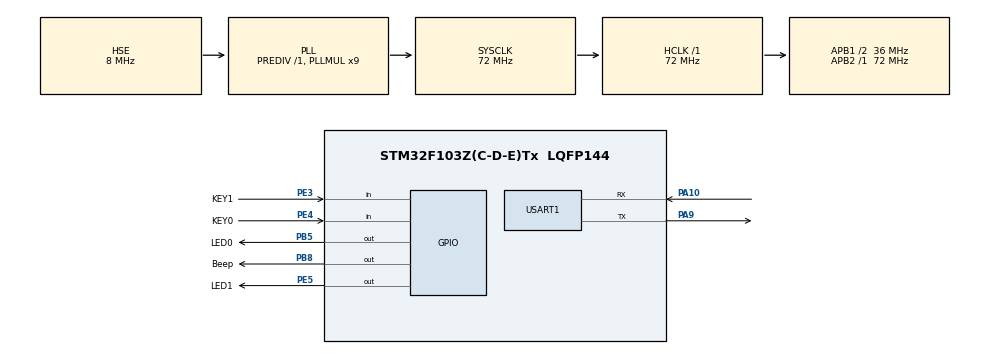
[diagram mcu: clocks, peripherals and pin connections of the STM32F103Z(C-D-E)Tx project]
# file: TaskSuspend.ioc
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FREERTOS.Tasks01=Key1Task,0,128,KEYTask,Default,NULL,Dynamic,NULL,NULL;LED0Task03,-3,128,LED0Task,Default,NULL,Dynamic,NULL,NULL;LED1Task04,-3,128,LED1Task,Default,NULL,Dynamic,NULL,NULL
Mcu.Family=STM32F1
Mcu.Name=STM32F103Z(C-D-E)Tx
Mcu.Package=LQFP144
NVIC.PriorityGroup=NVIC_PRIORITYGROUP_4
NVIC.TIM7_IRQn=true\:15\:0\:false\:false\:true\:false\:false\:true
NVIC.TimeBase=TIM7_IRQn
NVIC.TimeBaseIP=TIM7
OSC_IN.Mode=HSE-External-Oscillator
OSC_IN.Signal=RCC_OSC_IN
OSC_OUT.Mode=HSE-External-Oscillator
OSC_OUT.Signal=RCC_OSC_OUT
PA10.Mode=Asynchronous
PA10.Signal=USART1_RX
PA9.Mode=Asynchronous
PA9.Signal=USART1_TX
PB5.GPIO_Label=LED0
PB5.Signal=GPIO_Output
PB8.GPIO_Label=Beep
PB8.Signal=GPIO_Output
PE3.GPIO_Label=KEY1
PE3.Signal=GPIO_Input
PE4.GPIO_Label=KEY0
PE4.Signal=GPIO_Input
PE5.GPIO_Label=LED1
PE5.Signal=GPIO_Output
ProjectManager.HeapSize=0x800
ProjectManager.StackSize=0x800
ProjectManager.TargetToolchain=MDK-ARM V5.32
RCC.AHBFreq_Value=72000000
RCC.APB1CLKDivider=RCC_HCLK_DIV2
RCC.APB1Freq_Value=36000000
RCC.APB1TimFreq_Value=72000000
RCC.APB2Freq_Value=72000000
RCC.APB2TimFreq_Value=72000000
RCC.HCLKFreq_Value=72000000
RCC.PLLMUL=RCC_PLL_MUL9
RCC.PLLSourceVirtual=RCC_PLLSOURCE_HSE
RCC.SYSCLKFreq_VALUE=72000000
RCC.SYSCLKSource=RCC_SYSCLKSOURCE_PLLCLK
RCC.USBFreq_Value=72000000
USART1.VirtualMode=VM_ASYNC
VP_FREERTOS_VS_CMSIS_V1.Mode=CMSIS_V1
VP_SYS_VS_ND.Mode=No_Debug
VP_SYS_VS_tim7.Mode=TIM7
board=custom

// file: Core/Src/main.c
/* USER CODE BEGIN Header */
/**
  ******************************************************************************
  * @file           : main.c
  * @brief          : Main program body
  ******************************************************************************
  * @attention
  *
  * <h2><center>&copy; Copyright (c) 2022 STMicroelectronics.
  * All rights reserved.</center></h2>
  *
  * This software component is licensed by ST under Ultimate Liberty license
  * SLA0044, the "License"; You may not use this file except in compliance with
  * the License. You may obtain a copy of the License at:
  *                             www.st.com/SLA0044
  *
  ******************************************************************************
  */
/* USER CODE END Header */
#include "main.h"
#include "cmsis_os.h"
#include "usart.h"
#include "gpio.h"

void SystemClock_Config(void);
void MX_FREERTOS_Init(void);

int main(void)
{

  /* MCU Configuration--------------------------------------------------------*/

  /* Reset of all peripherals, Initializes the Flash interface and the Systick. */
  HAL_Init();

  /* Configure the system clock */
  SystemClock_Config();

  /* Initialize all configured peripherals */
  MX_GPIO_Init();
  MX_USART1_UART_Init();

  /* Call init function for freertos objects (in freertos.c) */
  MX_FREERTOS_Init();
  /* Start scheduler */
  osKernelStart();

  /* We should never get here as control is now taken by the scheduler */
  /* Infinite loop */
  while (1)
  {

  }
}

void SystemClock_Config(void)
{
  RCC_OscInitTypeDef RCC_OscInitStruct = {0};
  RCC_ClkInitTypeDef RCC_ClkInitStruct = {0};

  /** Initializes the RCC Oscillators according to the specified parameters
  * in the RCC_OscInitTypeDef structure.
  */
  RCC_OscInitStruct.OscillatorType = RCC_OSCILLATORTYPE_HSE;
  RCC_OscInitStruct.HSEState = RCC_HSE_ON;
  RCC_OscInitStruct.HSEPredivValue = RCC_HSE_PREDIV_DIV1;
  RCC_OscInitStruct.HSIState = RCC_HSI_ON;
  RCC_OscInitStruct.PLL.PLLState = RCC_PLL_ON;
  RCC_OscInitStruct.PLL.PLLSource = RCC_PLLSOURCE_HSE;
  RCC_OscInitStruct.PLL.PLLMUL = RCC_PLL_MUL9;
  if (HAL_RCC_OscConfig(&RCC_OscInitStruct) != HAL_OK)
  {
    Error_Handler();
  }
  /** Initializes the CPU, AHB and APB buses clocks
  */
  RCC_ClkInitStruct.ClockType = RCC_CLOCKTYPE_HCLK|RCC_CLOCKTYPE_SYSCLK
                              |RCC_CLOCKTYPE_PCLK1|RCC_CLOCKTYPE_PCLK2;
  RCC_ClkInitStruct.SYSCLKSource = RCC_SYSCLKSOURCE_PLLCLK;
  RCC_ClkInitStruct.AHBCLKDivider = RCC_SYSCLK_DIV1;
  RCC_ClkInitStruct.APB1CLKDivider = RCC_HCLK_DIV2;
  RCC_ClkInitStruct.APB2CLKDivider = RCC_HCLK_DIV1;

  if (HAL_RCC_ClockConfig(&RCC_ClkInitStruct, FLASH_LATENCY_2) != HAL_OK)
  {
    Error_Handler();
  }
}

void HAL_TIM_PeriodElapsedCallback(TIM_HandleTypeDef *htim)
{
  if (htim->Instance == TIM7) {
    HAL_IncTick();
  }
}

void Error_Handler(void)
{
  __disable_irq();
  while (1)
  {
  }
}

/************************ (C) COPYRIGHT STMicroelectronics *****END OF FILE****/

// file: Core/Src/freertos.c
/* USER CODE BEGIN Header */
/**
  ******************************************************************************
  * File Name          : freertos.c
  * Description        : Code for freertos applications
  ******************************************************************************
  * @attention
  *
  * <h2><center>&copy; Copyright (c) 2022 STMicroelectronics.
  * All rights reserved.</center></h2>
  *
  * This software component is licensed by ST under Ultimate Liberty license
  * SLA0044, the "License"; You may not use this file except in compliance with
  * the License. You may obtain a copy of the License at:
  *                             www.st.com/SLA0044
  *
  ******************************************************************************
  */
/* USER CODE END Header */

#include "FreeRTOS.h"
#include "task.h"
#include "main.h"
#include "cmsis_os.h"

/* USER CODE BEGIN Includes */
#include "LED.h"
#include "Buzzer.h"
/* USER CODE END Includes */

osThreadId Key1TaskHandle;
osThreadId LED0Task03Handle;
osThreadId LED1Task04Handle;

void KEYTask(void const * argument);
void LED0Task(void const * argument);
void LED1Task(void const * argument);

void MX_FREERTOS_Init(void); /* (MISRA C 2004 rule 8.1) */

/* GetIdleTaskMemory prototype (linked to static allocation support) */
void vApplicationGetIdleTaskMemory( StaticTask_t **ppxIdleTaskTCBBuffer, StackType_t **ppxIdleTaskStackBuffer, uint32_t *pulIdleTaskStackSize );

/* USER CODE BEGIN GET_IDLE_TASK_MEMORY */
static StaticTask_t xIdleTaskTCBBuffer;
static StackType_t xIdleStack[configMINIMAL_STACK_SIZE];

void vApplicationGetIdleTaskMemory( StaticTask_t **ppxIdleTaskTCBBuffer, StackType_t **ppxIdleTaskStackBuffer, uint32_t *pulIdleTaskStackSize )
{
  *ppxIdleTaskTCBBuffer = &xIdleTaskTCBBuffer;
  *ppxIdleTaskStackBuffer = &xIdleStack[0];
  *pulIdleTaskStackSize = configMINIMAL_STACK_SIZE;
  /* place for user code */
}
/* USER CODE END GET_IDLE_TASK_MEMORY */

void MX_FREERTOS_Init(void) {

  /* Create the thread(s) */
  /* definition and creation of Key1Task */
  osThreadDef(Key1Task, KEYTask, osPriorityNormal, 0, 128);
  Key1TaskHandle = osThreadCreate(osThread(Key1Task), NULL);

  /* definition and creation of LED0Task03 */
  osThreadDef(LED0Task03, LED0Task, osPriorityIdle, 0, 128);
  LED0Task03Handle = osThreadCreate(osThread(LED0Task03), NULL);

  /* definition and creation of LED1Task04 */
  osThreadDef(LED1Task04, LED1Task, osPriorityIdle, 0, 128);
  LED1Task04Handle = osThreadCreate(osThread(LED1Task04), NULL);

}

void KEYTask(void const * argument)
{
  /* USER CODE BEGIN KEYTask */
	uint8_t keyflag=1;
  /* Infinite loop */
  for(;;)
  {
	  switch(keyflag)
	  {
		  case 1:
			  osDelay(20);
			  if(HAL_GPIO_ReadPin(KEY0_GPIO_Port,KEY0_Pin))
			  {
				  vTaskSuspend(LED0Task03Handle);//№ТЖрLED0ИООс
				  keyflag=0;
			  }
			  break;
		  case 0:
			  osDelay(20);
			  if(HAL_GPIO_ReadPin(KEY0_GPIO_Port,KEY0_Pin))
			  {
				  vTaskResume(LED0Task03Handle);//»ЦёґLED0ИООс
				  keyflag=1;
			  }
			  break;
		  default:
			  break;
	  }
	  osDelay(20);

  }
  /* USER CODE END KEYTask */
}

void LED0Task(void const * argument)
{
  /* USER CODE BEGIN LED0Task */
  /* Infinite loop */
  for(;;)
  {
	  LED0(OFF);
      osDelay(500);
	  LED0(ON);
	  osDelay(500);
  }
  /* USER CODE END LED0Task */
}

void LED1Task(void const * argument)
{
  /* USER CODE BEGIN LED1Task */
  /* Infinite loop */
  for(;;)
  {
      LED1(OFF);
      osDelay(100);
	  LED1(ON);
	  osDelay(100);
  }
  /* USER CODE END LED1Task */
}

/************************ (C) COPYRIGHT STMicroelectronics *****END OF FILE****/
